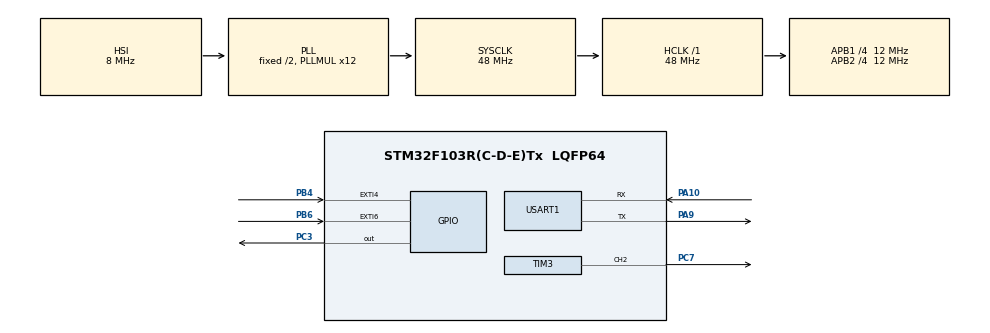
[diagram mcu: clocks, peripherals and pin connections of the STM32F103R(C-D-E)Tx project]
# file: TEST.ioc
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Mcu.Family=STM32F1
Mcu.Name=STM32F103R(C-D-E)Tx
Mcu.Package=LQFP64
NVIC.EXTI4_IRQn=true\:0\:0\:false\:false\:true\:true\:true\:true
NVIC.EXTI9_5_IRQn=true\:0\:0\:false\:false\:true\:true\:true\:true
NVIC.PriorityGroup=NVIC_PRIORITYGROUP_4
NVIC.TIM4_IRQn=true\:0\:0\:false\:false\:true\:true\:true\:true
NVIC.TIM5_IRQn=true\:0\:0\:false\:false\:true\:true\:true\:true
NVIC.USART1_IRQn=true\:0\:0\:false\:false\:true\:true\:true\:true
PA10.Mode=Asynchronous
PA10.Signal=USART1_RX
PA13.Mode=Serial_Wire
PA13.Signal=SYS_JTMS-SWDIO
PA14.Mode=Serial_Wire
PA14.Signal=SYS_JTCK-SWCLK
PA9.Mode=Asynchronous
PA9.Signal=USART1_TX
PB4.GPIO_ModeDefaultEXTI=GPIO_MODE_IT_RISING_FALLING
PB4.GPIO_PuPd=GPIO_PULLUP
PB4.Signal=GPXTI4
PB6.GPIO_ModeDefaultEXTI=GPIO_MODE_IT_RISING_FALLING
PB6.GPIO_PuPd=GPIO_PULLUP
PB6.Signal=GPXTI6
PC3.Signal=GPIO_Output
PC7.Signal=S_TIM3_CH2
ProjectManager.HeapSize=0x200
ProjectManager.StackSize=0x400
ProjectManager.TargetToolchain=MDK-ARM V5
RCC.AHBFreq_Value=48000000
RCC.APB1CLKDivider=RCC_HCLK_DIV4
RCC.APB1Freq_Value=12000000
RCC.APB1TimFreq_Value=24000000
RCC.APB2CLKDivider=RCC_HCLK_DIV4
RCC.APB2Freq_Value=12000000
RCC.APB2TimFreq_Value=24000000
RCC.HCLKFreq_Value=48000000
RCC.PLLMUL=RCC_PLL_MUL12
RCC.SYSCLKFreq_VALUE=48000000
RCC.SYSCLKSource=RCC_SYSCLKSOURCE_PLLCLK
RCC.USBFreq_Value=48000000
SH.S_TIM3_CH2.0=TIM3_CH2,PWM Generation2 CH2
TIM3.Channel-PWM\ Generation2\ CH2=TIM_CHANNEL_2
TIM3.Period=100
TIM3.Prescaler=11
TIM4.Period=4
TIM4.Prescaler=23999
TIM5.Period=9
TIM5.Prescaler=23999
USART1.VirtualMode=VM_ASYNC
VP_TIM4_VS_ClockSourceINT.Mode=Internal
VP_TIM5_VS_ClockSourceINT.Mode=Internal
board=custom

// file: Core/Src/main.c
/* USER CODE BEGIN Header */
/**
  ******************************************************************************
  * @file           : main.c
  * @brief          : Main program body
  ******************************************************************************
  * @attention
  *
  * Copyright (c) 2023 STMicroelectronics.
  * All rights reserved.
  *
  * This software is licensed under terms that can be found in the LICENSE file
  * in the root directory of this software component.
  * If no LICENSE file comes with this software, it is provided AS-IS.
  *
  ******************************************************************************
  */
/* USER CODE END Header */
#include "main.h"
#include "string.h"
#include "stdio.h"
#include "stdlib.h"
#include "stdbool.h"
/* USER CODE BEGIN Includes */
#define pi 3.1415
#define p2r pi/1000
/* USER CODE END Includes */

TIM_HandleTypeDef htim3;
TIM_HandleTypeDef htim4;
TIM_HandleTypeDef htim5;

UART_HandleTypeDef huart1;

/* USER CODE BEGIN PV */
int32_t PosCnt,Cnttmp,speed;
int16_t CountValue=0,RealVel,DesiredSpeed,HILIM,LOLIM;
uint16_t AngPos1, AngPos0,CntVel;
uint8_t PreviousState,pwm,Speedmode,tick=0;
bool run=false, dir;
float CurPos=0,DesiredPos,CurVel,CurAngle = 0,prevE = 0,dedt,e,u;
float integral = 0;
float pwm_out,target_angle,dis,kp,ki,kd;

float error = 0;
float error_pre = 0;
float ui, ud;
float Kp = 2;
float Ki = 0;
float Kd = 0.1;
float dt = 0.005;

float sp_rad;
float cv_rad;
float setpoint;

typedef enum
{
RIGHT_DIR,
LEFT_DIR
} dir_t;
/* USER CODE END PV */

void SystemClock_Config(void);
static void MX_GPIO_Init(void);
static void MX_TIM3_Init(void);
static void MX_TIM4_Init(void);
static void MX_TIM5_Init(void);
static void MX_USART1_UART_Init(void);

/* USER CODE BEGIN 0 */
void EXTI9_5_IRQHandler(void)	// doc encoder
{
  /* USER CODE BEGIN EXTI9_5_IRQn 0 */
	unsigned char State0;
	State0 = (State0<<1) | HAL_GPIO_ReadPin(GPIOB, GPIO_PIN_4);
	State0 = (State0<<1) | HAL_GPIO_ReadPin(GPIOB, GPIO_PIN_6);
	State0 = State0&0x03;
	switch (State0) {
		case 0:
			if(PreviousState==1) CountValue++;
			else CountValue--;
		break;
		case 1:
			if(PreviousState==3) CountValue++;
			else CountValue--;
		break;
		case 2:
			if(PreviousState==0) CountValue++;
			else CountValue--;
		break;
		case 3:
			if(PreviousState==2) CountValue++;
			else CountValue--;
		break;
		}
	PreviousState = State0;
			CntVel++;
	if (CountValue>=2000) {
		CountValue = 0;
		PosCnt++;
	}
	else if	(CountValue<=-2000) {
		CountValue = 0;
		PosCnt--;
}

  /* USER CODE END EXTI4_IRQn 0 */
  HAL_GPIO_EXTI_IRQHandler(GPIO_PIN_6);
  /* USER CODE BEGIN EXTI4_IRQn 1 */
}

/**
* @brief This function handles EXTI line3 interrupt.
*/
void EXTI4_IRQHandler(void)	// doc encoder
{
  /* USER CODE BEGIN EXTI4_IRQn 0 */
	// CHANNEL A
unsigned char State1;
	State1 = (State1<<1) | HAL_GPIO_ReadPin(GPIOB, GPIO_PIN_4);
	State1 = (State1<<1) | HAL_GPIO_ReadPin(GPIOB, GPIO_PIN_6);
	State1 = State1&0x03;
	switch (State1) {
		case 0:
			if(PreviousState==1) CountValue++;
			else CountValue--;
		break;
		case 1:
			if(PreviousState==3) CountValue++;
			else CountValue--;
		break;
		case 2:
			if(PreviousState==0) CountValue++;
			else CountValue--;
		break;
		case 3:
			if(PreviousState==2) CountValue++;
			else CountValue--;
		break;
		}
	PreviousState = State1;
			CntVel++;
	if (CountValue>=2000) {
		CountValue = 0;
		PosCnt++;
	}
	else if	(CountValue<=-2000) {
		CountValue = 0;
		PosCnt--;
	}

/* USER CODE END EXTI3_IRQn 0 */
  HAL_GPIO_EXTI_IRQHandler(GPIO_PIN_4);
  /* USER CODE BEGIN EXTI3_IRQn 1 */

  /* USER CODE END EXTI3_IRQn 1 */
}

void run_motor(dir_t dir, int16_t pwm)
{
	HAL_GPIO_WritePin(GPIOC, GPIO_PIN_3, (GPIO_PinState)dir);
	__HAL_TIM_SET_COMPARE(&htim3, TIM_CHANNEL_2, (uint8_t)pwm);
}

int16_t PID(float sp, float cv)
{
	error = sp - cv;
	ui = ui + error * dt;
	ud = (error - error_pre) / dt;
	int16_t mv = Kp * error + Ki * ui + Kd * ud;
	error_pre = error;

	if (mv > 99)
	{
		mv = 99;
	}
	else if (mv < -99)
	{
		mv = -99;
	}

	return mv;
}

void HAL_TIM_PeriodElapsedCallback(TIM_HandleTypeDef *htim) {	// ngat timer 4 tinh van toc
	if(htim->Instance==TIM4)	// ngat do timer 4	5ms
	{
		CurPos = PosCnt*2*pi+CountValue*p2r;	// Position calculation
		Cnttmp = CntVel;
		CntVel = 0;
		RealVel = Cnttmp*6;										//RPM
		CurVel = Cnttmp*pi/5;								//rad/s

		//sp_rad = setpoint * 2 * pi / 60;
		//cv_rad = (float)RealVel * 2  * pi / 60;

		sp_rad = setpoint * 2 * pi / 10;
		cv_rad = CurPos;
		int16_t mv_pwm = PID(sp_rad, cv_rad);

      if (mv_pwm > 0)
      {
        run_motor(LEFT_DIR, mv_pwm);
      }
      else
      {
        run_motor(RIGHT_DIR, mv_pwm*(-1));
      }
	}
}

/* USER CODE END 0 */

int main(void)
{

  /* MCU Configuration--------------------------------------------------------*/

  /* Reset of all peripherals, Initializes the Flash interface and the Systick. */
  HAL_Init();

  /* Configure the system clock */
  SystemClock_Config();

  /* Initialize all configured peripherals */
  MX_GPIO_Init();
  MX_TIM3_Init();
  MX_TIM4_Init();
  MX_TIM5_Init();
  MX_USART1_UART_Init();
  /* USER CODE BEGIN 2 */
	HAL_TIM_PWM_Start(&htim3, TIM_CHANNEL_2);	// khoi tao timer 3
	HAL_TIM_Base_Start_IT(&htim4);						// khoi tao timer 4
	HAL_TIM_Base_Start_IT(&htim5);			// khoi tao timer 5
  /* USER CODE END 2 */
	run_motor(RIGHT_DIR, 80);
  /* Infinite loop */
  while (1)
  {

  }
}

void SystemClock_Config(void)
{
  RCC_OscInitTypeDef RCC_OscInitStruct = {0};
  RCC_ClkInitTypeDef RCC_ClkInitStruct = {0};

  /** Initializes the RCC Oscillators according to the specified parameters
  * in the RCC_OscInitTypeDef structure.
  */
  RCC_OscInitStruct.OscillatorType = RCC_OSCILLATORTYPE_HSI;
  RCC_OscInitStruct.HSIState = RCC_HSI_ON;
  RCC_OscInitStruct.HSICalibrationValue = RCC_HSICALIBRATION_DEFAULT;
  RCC_OscInitStruct.PLL.PLLState = RCC_PLL_ON;
  RCC_OscInitStruct.PLL.PLLSource = RCC_PLLSOURCE_HSI_DIV2;
  RCC_OscInitStruct.PLL.PLLMUL = RCC_PLL_MUL12;
  if (HAL_RCC_OscConfig(&RCC_OscInitStruct) != HAL_OK)
  {
    Error_Handler();
  }

  /** Initializes the CPU, AHB and APB buses clocks
  */
  RCC_ClkInitStruct.ClockType = RCC_CLOCKTYPE_HCLK|RCC_CLOCKTYPE_SYSCLK
                              |RCC_CLOCKTYPE_PCLK1|RCC_CLOCKTYPE_PCLK2;
  RCC_ClkInitStruct.SYSCLKSource = RCC_SYSCLKSOURCE_PLLCLK;
  RCC_ClkInitStruct.AHBCLKDivider = RCC_SYSCLK_DIV1;
  RCC_ClkInitStruct.APB1CLKDivider = RCC_HCLK_DIV4;
  RCC_ClkInitStruct.APB2CLKDivider = RCC_HCLK_DIV4;

  if (HAL_RCC_ClockConfig(&RCC_ClkInitStruct, FLASH_LATENCY_1) != HAL_OK)
  {
    Error_Handler();
  }
}

static void MX_TIM3_Init(void)
{

  TIM_MasterConfigTypeDef sMasterConfig = {0};
  TIM_OC_InitTypeDef sConfigOC = {0};

  htim3.Instance = TIM3;
  htim3.Init.Prescaler = 11;
  htim3.Init.CounterMode = TIM_COUNTERMODE_UP;
  htim3.Init.Period = 100;
  htim3.Init.ClockDivision = TIM_CLOCKDIVISION_DIV1;
  htim3.Init.AutoReloadPreload = TIM_AUTORELOAD_PRELOAD_DISABLE;
  if (HAL_TIM_PWM_Init(&htim3) != HAL_OK)
  {
    Error_Handler();
  }
  sMasterConfig.MasterOutputTrigger = TIM_TRGO_RESET;
  sMasterConfig.MasterSlaveMode = TIM_MASTERSLAVEMODE_DISABLE;
  if (HAL_TIMEx_MasterConfigSynchronization(&htim3, &sMasterConfig) != HAL_OK)
  {
    Error_Handler();
  }
  sConfigOC.OCMode = TIM_OCMODE_PWM1;
  sConfigOC.Pulse = 0;
  sConfigOC.OCPolarity = TIM_OCPOLARITY_HIGH;
  sConfigOC.OCFastMode = TIM_OCFAST_DISABLE;
  if (HAL_TIM_PWM_ConfigChannel(&htim3, &sConfigOC, TIM_CHANNEL_2) != HAL_OK)
  {
    Error_Handler();
  }
  HAL_TIM_MspPostInit(&htim3);

}

static void MX_TIM4_Init(void)
{

  TIM_ClockConfigTypeDef sClockSourceConfig = {0};
  TIM_MasterConfigTypeDef sMasterConfig = {0};

  htim4.Instance = TIM4;
  htim4.Init.Prescaler = 23999;
  htim4.Init.CounterMode = TIM_COUNTERMODE_UP;
  htim4.Init.Period = 4;
  htim4.Init.ClockDivision = TIM_CLOCKDIVISION_DIV1;
  htim4.Init.AutoReloadPreload = TIM_AUTORELOAD_PRELOAD_DISABLE;
  if (HAL_TIM_Base_Init(&htim4) != HAL_OK)
  {
    Error_Handler();
  }
  sClockSourceConfig.ClockSource = TIM_CLOCKSOURCE_INTERNAL;
  if (HAL_TIM_ConfigClockSource(&htim4, &sClockSourceConfig) != HAL_OK)
  {
    Error_Handler();
  }
  sMasterConfig.MasterOutputTrigger = TIM_TRGO_RESET;
  sMasterConfig.MasterSlaveMode = TIM_MASTERSLAVEMODE_DISABLE;
  if (HAL_TIMEx_MasterConfigSynchronization(&htim4, &sMasterConfig) != HAL_OK)
  {
    Error_Handler();
  }

}

static void MX_TIM5_Init(void)
{

  TIM_ClockConfigTypeDef sClockSourceConfig = {0};
  TIM_MasterConfigTypeDef sMasterConfig = {0};

  htim5.Instance = TIM5;
  htim5.Init.Prescaler = 23999;
  htim5.Init.CounterMode = TIM_COUNTERMODE_UP;
  htim5.Init.Period = 9;
  htim5.Init.ClockDivision = TIM_CLOCKDIVISION_DIV1;
  htim5.Init.AutoReloadPreload = TIM_AUTORELOAD_PRELOAD_DISABLE;
  if (HAL_TIM_Base_Init(&htim5) != HAL_OK)
  {
    Error_Handler();
  }
  sClockSourceConfig.ClockSource = TIM_CLOCKSOURCE_INTERNAL;
  if (HAL_TIM_ConfigClockSource(&htim5, &sClockSourceConfig) != HAL_OK)
  {
    Error_Handler();
  }
  sMasterConfig.MasterOutputTrigger = TIM_TRGO_RESET;
  sMasterConfig.MasterSlaveMode = TIM_MASTERSLAVEMODE_DISABLE;
  if (HAL_TIMEx_MasterConfigSynchronization(&htim5, &sMasterConfig) != HAL_OK)
  {
    Error_Handler();
  }

}

static void MX_USART1_UART_Init(void)
{

  huart1.Instance = USART1;
  huart1.Init.BaudRate = 115200;
  huart1.Init.WordLength = UART_WORDLENGTH_8B;
  huart1.Init.StopBits = UART_STOPBITS_1;
  huart1.Init.Parity = UART_PARITY_NONE;
  huart1.Init.Mode = UART_MODE_TX_RX;
  huart1.Init.HwFlowCtl = UART_HWCONTROL_NONE;
  huart1.Init.OverSampling = UART_OVERSAMPLING_16;
  if (HAL_UART_Init(&huart1) != HAL_OK)
  {
    Error_Handler();
  }

}

static void MX_GPIO_Init(void)
{
  GPIO_InitTypeDef GPIO_InitStruct = {0};

  /* GPIO Ports Clock Enable */
  __HAL_RCC_GPIOC_CLK_ENABLE();
  __HAL_RCC_GPIOA_CLK_ENABLE();
  __HAL_RCC_GPIOB_CLK_ENABLE();

  /*Configure GPIO pin Output Level */
  HAL_GPIO_WritePin(GPIOC, GPIO_PIN_3, GPIO_PIN_RESET);

  /*Configure GPIO pin : PC3 */
  GPIO_InitStruct.Pin = GPIO_PIN_3;
  GPIO_InitStruct.Mode = GPIO_MODE_OUTPUT_PP;
  GPIO_InitStruct.Pull = GPIO_NOPULL;
  GPIO_InitStruct.Speed = GPIO_SPEED_FREQ_LOW;
  HAL_GPIO_Init(GPIOC, &GPIO_InitStruct);

  /*Configure GPIO pins : PB4 PB6 */
  GPIO_InitStruct.Pin = GPIO_PIN_4|GPIO_PIN_6;
  GPIO_InitStruct.Mode = GPIO_MODE_IT_RISING_FALLING;
  GPIO_InitStruct.Pull = GPIO_PULLUP;
  HAL_GPIO_Init(GPIOB, &GPIO_InitStruct);

  /* EXTI interrupt init*/
  HAL_NVIC_SetPriority(EXTI4_IRQn, 0, 0);
  HAL_NVIC_EnableIRQ(EXTI4_IRQn);

  HAL_NVIC_SetPriority(EXTI9_5_IRQn, 0, 0);
  HAL_NVIC_EnableIRQ(EXTI9_5_IRQn);

}

void Error_Handler(void)
{
  __disable_irq();
  while (1)
  {
  }
}
